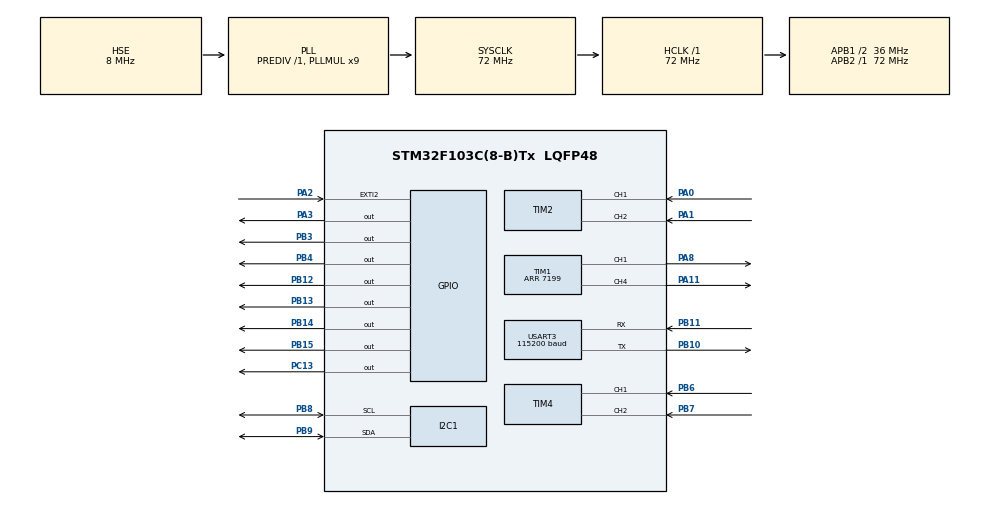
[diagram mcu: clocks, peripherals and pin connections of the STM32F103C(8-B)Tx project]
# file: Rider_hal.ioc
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Dma.Request0=USART3_RX
Dma.Request1=USART3_TX
Dma.USART3_RX.0.Direction=DMA_PERIPH_TO_MEMORY
Dma.USART3_RX.0.Instance=DMA1_Channel3
Dma.USART3_RX.0.MemDataAlignment=DMA_MDATAALIGN_BYTE
Dma.USART3_RX.0.MemInc=DMA_MINC_ENABLE
Dma.USART3_RX.0.Mode=DMA_CIRCULAR
Dma.USART3_RX.0.PeriphDataAlignment=DMA_PDATAALIGN_BYTE
Dma.USART3_RX.0.PeriphInc=DMA_PINC_DISABLE
Dma.USART3_RX.0.Priority=DMA_PRIORITY_VERY_HIGH
Dma.USART3_TX.1.Direction=DMA_MEMORY_TO_PERIPH
Dma.USART3_TX.1.Instance=DMA1_Channel2
Dma.USART3_TX.1.MemDataAlignment=DMA_MDATAALIGN_BYTE
Dma.USART3_TX.1.MemInc=DMA_MINC_ENABLE
Dma.USART3_TX.1.Mode=DMA_NORMAL
Dma.USART3_TX.1.PeriphDataAlignment=DMA_PDATAALIGN_BYTE
Dma.USART3_TX.1.PeriphInc=DMA_PINC_DISABLE
Dma.USART3_TX.1.Priority=DMA_PRIORITY_HIGH
FREERTOS.Tasks01=defaultTask,24,128,StartDefaultTask,Default,NULL,Dynamic,NULL,NULL
Mcu.Family=STM32F1
Mcu.Name=STM32F103C(8-B)Tx
Mcu.Package=LQFP48
NVIC.DMA1_Channel2_IRQn=true\:5\:0\:false\:false\:true\:true\:false\:true\:true
NVIC.DMA1_Channel3_IRQn=true\:5\:0\:false\:false\:true\:true\:false\:true\:true
NVIC.EXTI2_IRQn=true\:5\:0\:false\:false\:true\:true\:true\:true\:true
NVIC.PriorityGroup=NVIC_PRIORITYGROUP_4
NVIC.USART3_IRQn=true\:5\:0\:false\:false\:true\:true\:true\:true\:true
PA0-WKUP.Signal=S_TIM2_CH1_ETR
PA1.Signal=S_TIM2_CH2
PA11.Signal=S_TIM1_CH4
PA13.Mode=Serial_Wire
PA13.Signal=SYS_JTMS-SWDIO
PA14.Mode=Serial_Wire
PA14.Signal=SYS_JTCK-SWCLK
PA2.GPIO_ModeDefaultEXTI=GPIO_MODE_IT_RISING_FALLING
PA2.Signal=GPXTI2
PA3.GPIO_Speed=GPIO_SPEED_FREQ_HIGH
PA3.Signal=GPIO_Output
PA8.Signal=S_TIM1_CH1
PB10.Mode=Asynchronous
PB10.Signal=USART3_TX
PB11.Mode=Asynchronous
PB11.Signal=USART3_RX
PB12.Signal=GPIO_Output
PB13.Signal=GPIO_Output
PB14.Signal=GPIO_Output
PB15.Signal=GPIO_Output
PB3.GPIO_Speed=GPIO_SPEED_FREQ_HIGH
PB3.Signal=GPIO_Output
PB4.GPIO_Speed=GPIO_SPEED_FREQ_HIGH
PB4.Signal=GPIO_Output
PB6.Signal=S_TIM4_CH1
PB7.Signal=S_TIM4_CH2
PB8.Mode=I2C
PB8.Signal=I2C1_SCL
PB9.Mode=I2C
PB9.Signal=I2C1_SDA
PC13-TAMPER-RTC.Signal=GPIO_Output
PC14-OSC32_IN.Mode=LSE-External-Oscillator
PC14-OSC32_IN.Signal=RCC_OSC32_IN
PC15-OSC32_OUT.Mode=LSE-External-Oscillator
PC15-OSC32_OUT.Signal=RCC_OSC32_OUT
PD0-OSC_IN.Mode=HSE-External-Oscillator
PD0-OSC_IN.Signal=RCC_OSC_IN
PD1-OSC_OUT.Mode=HSE-External-Oscillator
PD1-OSC_OUT.Signal=RCC_OSC_OUT
ProjectManager.HeapSize=0x200
ProjectManager.StackSize=0x400
ProjectManager.TargetToolchain=MDK-ARM V5.32
RCC.AHBFreq_Value=72000000
RCC.APB1CLKDivider=RCC_HCLK_DIV2
RCC.APB1Freq_Value=36000000
RCC.APB1TimFreq_Value=72000000
RCC.APB2Freq_Value=72000000
RCC.APB2TimFreq_Value=72000000
RCC.HCLKFreq_Value=72000000
RCC.PLLMUL=RCC_PLL_MUL9
RCC.PLLSourceVirtual=RCC_PLLSOURCE_HSE
RCC.SYSCLKFreq_VALUE=72000000
RCC.SYSCLKSource=RCC_SYSCLKSOURCE_PLLCLK
RCC.USBFreq_Value=72000000
SH.S_TIM1_CH1.0=TIM1_CH1,PWM Generation1 CH1
SH.S_TIM1_CH4.0=TIM1_CH4,PWM Generation4 CH4
SH.S_TIM2_CH1_ETR.0=TIM2_CH1,Encoder_Interface
SH.S_TIM2_CH2.0=TIM2_CH2,Encoder_Interface
SH.S_TIM4_CH1.0=TIM4_CH1,Encoder_Interface
SH.S_TIM4_CH2.0=TIM4_CH2,Encoder_Interface
TIM1.AutoReloadPreload=TIM_AUTORELOAD_PRELOAD_ENABLE
TIM1.Channel-PWM\ Generation1\ CH1=TIM_CHANNEL_1
TIM1.Channel-PWM\ Generation4\ CH4=TIM_CHANNEL_4
TIM1.Period=7199
TIM1.Pulse-PWM\ Generation1\ CH1=7200
TIM1.Pulse-PWM\ Generation4\ CH4=7200
TIM2.EncoderMode=TIM_ENCODERMODE_TI12
TIM3.Prescaler=72-1
TIM4.EncoderMode=TIM_ENCODERMODE_TI12
USART3.BaudRate=115200
USART3.VirtualMode=VM_ASYNC
VP_FREERTOS_VS_CMSIS_V2.Mode=CMSIS_V2
VP_TIM3_VS_ClockSourceINT.Mode=Internal
board=custom

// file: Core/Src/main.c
/* USER CODE BEGIN Header */
/**
  ******************************************************************************
  * @file           : main.c
  * @brief          : Main program body
  ******************************************************************************
  * @attention
  *
  * Copyright (c) 2025 STMicroelectronics.
  * All rights reserved.
  *
  * This software is licensed under terms that can be found in the LICENSE file
  * in the root directory of this software component.
  * If no LICENSE file comes with this software, it is provided AS-IS.
  *
  ******************************************************************************
  */
/* USER CODE END Header */
#include "main.h"
#include "cmsis_os.h"
#include "dma.h"
#include "i2c.h"
#include "tim.h"
#include "usart.h"
#include "gpio.h"

/* USER CODE BEGIN Includes */

#include "FreeRTOS.h"
#include "task.h"
#include "oled.h"
#include "MPU6050.h"
#include "string.h"
#include "stdio.h"
#include "dwt_delay.h"
#include "Ultrasonic.h"
#include <math.h>
#include "motor.h"
#include <encoder.h>
#include "vofa.h"
#include "pid.h"
#include "BluetoothControl.h"

/* USER CODE END Includes */

/* USER CODE BEGIN PTD */

// 为了让中断也可以用，声明放在main函数外

extern volatile float accel_angle;  // 加速度计获取的角度
extern volatile float gyro_angle;   // 陀螺仪获取的角度
extern volatile float fused_angle;  // 融合后的角度
extern float gyro_x_speed;          // x轴的角速度
extern float gyro_z_speed;          // z轴的角速度

extern volatile uint8_t isFinish;  // 测量完成标志位
extern volatile uint16_t count;  // 定时器的值（高电平持续时间）

int Encoder_Left = 0;      // 左轮速度
int Encoder_Right = 0;     // 右轮速度

uint8_t System_Ready = 0; // 系统就绪标志位

extern VofaData g_vofa_frame;  // VOFA+公告板
extern float mechanical_balance_angle;  // 机械中值
extern volatile uint8_t IsParse ;           // 解析标识位
extern uint8_t Process_buffer[RX_BUFFER_SIZE + 1]; // 解析缓冲区
extern volatile uint8_t IsFall;           // 倒地标识位
extern float speed_filter_old;  // 经过滤波后的速度
extern volatile int target_speed;  // 目标速度
extern volatile int turn_cmd;  // 转向指令

extern TickType_t last_heartbeat_tick; // 上次心跳时间戳（FreeRTOS tick）

/* USER CODE END PTD */

void SystemClock_Config(void);
void MX_FREERTOS_Init(void);

int main(void)
{

  /* MCU Configuration--------------------------------------------------------*/

  /* Reset of all peripherals, Initializes the Flash interface and the Systick. */
  HAL_Init();

  /* Configure the system clock */
  SystemClock_Config();

  /* Initialize all configured peripherals */
  MX_GPIO_Init();
  MX_DMA_Init();
  MX_I2C1_Init();
  MX_USART3_UART_Init();
  MX_TIM3_Init();
  MX_TIM1_Init();
  MX_TIM2_Init();
  MX_TIM4_Init();
  /* USER CODE BEGIN 2 */

  /*====================== MPU6050初始化 ======================*/
  MPU6050_Init();
  HAL_Delay(100);   // 等待传感器稳定
  // 上电静止校准
  MPU6050_Calibrate_Gyro();
  // 让陀螺仪初始角度等于加速度计角度
  MPU6050_Get_AccelAngle();
  gyro_angle = accel_angle;
  fused_angle = accel_angle;
  // 允许滴答定时器中断开始工作
  System_Ready = 1;    // 不然在校准时，中断已经偷偷运行很久了

  /*====================== OLED初始化 ======================*/
  OLED_Init();  // 初始化oled屏幕
  OLED_Clear();  // 清屏
  // --- 打印固定不动的标签 (静态背景) ---
  // Line 0: "Angle:" (16号字体, 6个字符占 6*8=48 像素)
  OLED_ShowString(0, 0, (uint8_t*)"Angle:", 16);

  // Line 3: 分隔线
  OLED_ShowString(0, 3, (uint8_t*)"--------------", 8);

  // Line 4: "Dis:" 和 "cm"
  OLED_ShowString(0, 4, (uint8_t*)"Dis:", 12);
  OLED_ShowString(78, 4, (uint8_t*)"cm", 12);    // 24 + (9*6) = 78 (预留显示位)

  // Line 5: "L:" 和 "R:"
  OLED_ShowString(0, 6, (uint8_t*)"L:", 12);
  OLED_ShowString(64, 6, (uint8_t*)"R:", 12);    // 在屏幕中间 64 像素处开始打印 R:

  /*====================== 电机驱动模块初始化 ======================*/
  // 启动定时器1的通道1和4的PWM脉冲
  HAL_TIM_PWM_Start(&htim1, TIM_CHANNEL_1);
  HAL_TIM_PWM_Start(&htim1, TIM_CHANNEL_4);
  // 关闭电机
  Set_Motor_Speed(0, 0);

  /*====================== 编码器测速模块初始化 ======================*/
  // 启动定时器2和4的所有通道
  HAL_TIM_Encoder_Start(&htim2, TIM_CHANNEL_ALL);
  HAL_TIM_Encoder_Start(&htim4, TIM_CHANNEL_ALL);

  /*====================== VOFA+模块初始化 ======================*/
  VOFA_Init();

  /*====================== PID模块初始化 ======================*/
  PID_Init();

  /* USER CODE END 2 */

  /* Init scheduler */
  osKernelInitialize();

  /* Call init function for freertos objects (in cmsis_os2.c) */
  MX_FREERTOS_Init();

  /* Start scheduler */
  osKernelStart();

  /* We should never get here as control is now taken by the scheduler */

  /* Infinite loop */
  while (1)
  {

  }
}

void SystemClock_Config(void)
{
  RCC_OscInitTypeDef RCC_OscInitStruct = {0};
  RCC_ClkInitTypeDef RCC_ClkInitStruct = {0};

  /** Initializes the RCC Oscillators according to the specified parameters
  * in the RCC_OscInitTypeDef structure.
  */
  RCC_OscInitStruct.OscillatorType = RCC_OSCILLATORTYPE_HSE;
  RCC_OscInitStruct.HSEState = RCC_HSE_ON;
  RCC_OscInitStruct.HSEPredivValue = RCC_HSE_PREDIV_DIV1;
  RCC_OscInitStruct.HSIState = RCC_HSI_ON;
  RCC_OscInitStruct.PLL.PLLState = RCC_PLL_ON;
  RCC_OscInitStruct.PLL.PLLSource = RCC_PLLSOURCE_HSE;
  RCC_OscInitStruct.PLL.PLLMUL = RCC_PLL_MUL9;
  if (HAL_RCC_OscConfig(&RCC_OscInitStruct) != HAL_OK)
  {
    Error_Handler();
  }

  /** Initializes the CPU, AHB and APB buses clocks
  */
  RCC_ClkInitStruct.ClockType = RCC_CLOCKTYPE_HCLK|RCC_CLOCKTYPE_SYSCLK
                              |RCC_CLOCKTYPE_PCLK1|RCC_CLOCKTYPE_PCLK2;
  RCC_ClkInitStruct.SYSCLKSource = RCC_SYSCLKSOURCE_PLLCLK;
  RCC_ClkInitStruct.AHBCLKDivider = RCC_SYSCLK_DIV1;
  RCC_ClkInitStruct.APB1CLKDivider = RCC_HCLK_DIV2;
  RCC_ClkInitStruct.APB2CLKDivider = RCC_HCLK_DIV1;

  if (HAL_RCC_ClockConfig(&RCC_ClkInitStruct, FLASH_LATENCY_2) != HAL_OK)
  {
    Error_Handler();
  }
}

/* USER CODE BEGIN 4 */

/* 滴答定时器的中断回调 - FreeRTOS模式下由OS接管，此处不再使用 */
/* 控制逻辑已移至 Control_Task */

/* USER CODE END 4 */

void Error_Handler(void)
{
  __disable_irq();
  while (1)
  {
  }
}

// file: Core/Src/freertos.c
/* USER CODE BEGIN Header */
/**
  ******************************************************************************
  * File Name          : freertos.c
  * Description        : Code for freertos applications
  ******************************************************************************
  * @attention
  *
  * Copyright (c) 2026 STMicroelectronics.
  * All rights reserved.
  *
  * This software is licensed under terms that can be found in the LICENSE file
  * in the root directory of this software component.
  * If no LICENSE file comes with this software, it is provided AS-IS.
  *
  ******************************************************************************
  */
/* USER CODE END Header */

#include "FreeRTOS.h"
#include "task.h"
#include "semphr.h"
#include "main.h"
#include "cmsis_os.h"

/* USER CODE BEGIN Includes */
#include "oled.h"
#include "MPU6050.h"
#include "string.h"
#include "stdio.h"
#include "dwt_delay.h"
#include "Ultrasonic.h"
#include <math.h>
#include <stdlib.h>
#include "motor.h"
#include <encoder.h>
#include "vofa.h"
#include "pid.h"
#include "BluetoothControl.h"
#include "tim.h"
/* USER CODE END Includes */

/* USER CODE BEGIN Variables */

extern VofaData g_vofa_frame;  // VOFA+公告板
extern float mechanical_balance_angle;  // 机械中值
extern volatile uint8_t IsParse ;           // 解析标识位
extern uint8_t Process_buffer[RX_BUFFER_SIZE + 1]; // 解析缓冲区
extern volatile uint8_t IsFall;           // 倒地标识位
extern float speed_filter_old;  // 经过滤波后的速度
extern volatile int target_speed;  // 目标速度
extern volatile int turn_cmd;  // 转向指令
extern TickType_t last_heartbeat_tick; // 上次心跳时间戳（FreeRTOS tick）

extern volatile float accel_angle;  // 加速度计获取的角度
extern volatile float gyro_angle;   // 陀螺仪获取的角度
extern volatile float fused_angle;  // 融合后的角度
extern float gyro_x_speed;          // x轴的角速度
extern float gyro_z_speed;          // z轴的角速度

extern volatile uint8_t isFinish;  // 测量完成标志位
extern volatile uint16_t count;  // 定时器的值（高电平持续时间）

extern Kalman_t KalmanX;

extern int Encoder_Left;      // 左轮速度 (定义在main.c)
extern int Encoder_Right;     // 右轮速度 (定义在main.c)

extern uint8_t System_Ready; // 系统就绪标志位 (定义在main.c)

SemaphoreHandle_t g_uart_parse_semaphore;  // UART解析信号量

float g_distance = 0;  // 超声波测距距离，全局共享
float target_angle_from_speed = 0; // 速度环输出的目标角度，全局共享供Com_Task上发

/* Control Task Definition */
osThreadId_t Control_TaskHandle;
const osThreadAttr_t Control_Task_attributes = {
  .name = "Control_Task",
  .stack_size = 768 * 4,
  .priority = (osPriority_t) osPriorityHigh,
};

/* Ultrasonic Task Definition */
osThreadId_t Ultrasonic_TaskHandle;
const osThreadAttr_t Ultrasonic_Task_attributes = {
  .name = "Ultrasonic_Task",
  .stack_size = 128 * 4,
  .priority = (osPriority_t) osPriorityAboveNormal,
};

/* Com Task Definition */
osThreadId_t Com_TaskHandle;
const osThreadAttr_t Com_Task_attributes = {
  .name = "Com_Task",
  .stack_size = 256 * 4,
  .priority = (osPriority_t) osPriorityAboveNormal,
};

/* OLED Task Definition */
osThreadId_t OLED_TaskHandle;
const osThreadAttr_t OLED_Task_attributes = {
  .name = "OLED_Task",
  .stack_size = 256 * 4,
  .priority = (osPriority_t) osPriorityLow,
};

/* USER CODE END Variables */

/* USER CODE BEGIN FunctionPrototypes */

void Start_Control_Task(void *argument);
void Start_Ultrasonic_Task(void *argument);
void Start_Com_Task(void *argument);
void Start_OLED_Task(void *argument);

/* USER CODE END FunctionPrototypes */

void MX_FREERTOS_Init(void); /* (MISRA C 2004 rule 8.1) */

void MX_FREERTOS_Init(void) {

  /* USER CODE BEGIN RTOS_SEMAPHORES */
  /* UART解析信号量 */
  g_uart_parse_semaphore = xSemaphoreCreateBinary();
  /* USER CODE END RTOS_SEMAPHORES */

  /* USER CODE BEGIN RTOS_THREADS */
  /* start threads, ... */

  /* Control Task - 最高优先级 */
  Control_TaskHandle = osThreadNew(Start_Control_Task, NULL, &Control_Task_attributes);

  /* Ultrasonic Task */
  Ultrasonic_TaskHandle = osThreadNew(Start_Ultrasonic_Task, NULL, &Ultrasonic_Task_attributes);

  /* Com Task */
  Com_TaskHandle = osThreadNew(Start_Com_Task, NULL, &Com_Task_attributes);

  /* OLED Task */
  OLED_TaskHandle = osThreadNew(Start_OLED_Task, NULL, &OLED_Task_attributes);

  /* USER CODE END RTOS_THREADS */

}

void Start_Control_Task(void *argument)
{
  /* USER CODE BEGIN Start_Control_Task */

  /* 等待系统就绪（传感器校准完成） */
  while (!System_Ready)
  {
    osDelay(pdMS_TO_TICKS(10));
  }

  TickType_t xLastWakeTime = xTaskGetTickCount();
  static uint8_t speed_loop_counter = 0;
  // target_angle_from_speed 已改为全局变量，在文件顶部定义

  /* Infinite loop */
  for(;;)
  {
    /* ===== 40ms 任务：速度环 ===== */
    if (speed_loop_counter >= 8)
    {
      /* 编码器测速 */
      Encoder_Left = Read_Speed(&htim2);
      Encoder_Right = -1 * Read_Speed(&htim4);

      /* 速度环 PI */
      target_angle_from_speed = Speed_Control(Encoder_Left, Encoder_Right, fused_angle);

      speed_loop_counter = 0;
    }

    /* ===== 5ms 任务：直立环 + 转向环 ===== */
    /* 姿态解算 */
    MPU6050_get_FusedAngle_Optimized(0.005f);

    /* 倒地检测 */
    if (fabs(fused_angle) > 40.0f)
      IsFall = 1;
    else if (fabs(fused_angle) < 5.0f)
      IsFall = 0;

    /* 直立环 PD */
    float pure_gyro_x_speed = gyro_x_speed - KalmanX.bias;
    int Upright_pwm = Upright_Control(fused_angle, pure_gyro_x_speed, target_angle_from_speed);

    /* 转向环 P */
    int Turn_pwm = Turn_Control(turn_cmd, gyro_z_speed);

    /* 电机输出 */
    if (IsFall == 1)
    {
      Set_Motor_Speed(0, 0);
      target_angle_from_speed = 0;
    }
    else
    {
      Set_Motor_Speed(Upright_pwm + Turn_pwm, Upright_pwm - Turn_pwm);
    }

    speed_loop_counter++;

    vTaskDelayUntil(&xLastWakeTime, pdMS_TO_TICKS(5));
  }
  /* USER CODE END Start_Control_Task */
}

void Start_Ultrasonic_Task(void *argument)
{
  /* USER CODE BEGIN Start_Ultrasonic_Task */
  TickType_t xLastWakeTime = xTaskGetTickCount();
  uint8_t isObstacle = 0;
  (void)isObstacle; // 预留避障逻辑

  /* Infinite loop */
  for(;;)
  {
    if (isFinish == 0)
    {
      Get_Distance();
    }

    if (isFinish == 1)
    {
      g_distance = count * 0.017;
      if (g_distance > 0 && g_distance <= 30)
        isObstacle = 1;
      else
        isObstacle = 0;
      isFinish = 0;
    }

    vTaskDelayUntil(&xLastWakeTime, pdMS_TO_TICKS(60));
  }
  /* USER CODE END Start_Ultrasonic_Task */
}

void Start_Com_Task(void *argument)
{
  /* USER CODE BEGIN Start_Com_Task */
  TickType_t xLastWakeTime = xTaskGetTickCount();

  /* 本地副本，用于VOFA发送 */
  float reality_angle = 0;
  float expect_angle = 0;
  float pwm_output = 0;
  uint8_t local_IsParse = 0;
  uint8_t local_Process_buffer[RX_BUFFER_SIZE + 1];

  /* Infinite loop */
  for(;;)
  {
    /* 等待UART解析信号量（由DMA中断给出） */
    if (xSemaphoreTake(g_uart_parse_semaphore, pdMS_TO_TICKS(50)) == pdTRUE)
    {
      /* 原子复制数据，避免竞态条件 */
      local_IsParse = IsParse;
      memcpy(local_Process_buffer, Process_buffer, RX_BUFFER_SIZE);
    }

    /* 蓝牙解析（使用本地副本） */
    if (local_IsParse == 1)
    {
      local_IsParse = 0;
      /* 根据数据内容判断来源并解析 */
      Bluetooth_Parse_Binary(local_Process_buffer);
    }

    /* 软件看门狗 - 检查控制指令超时 */
    if (xTaskGetTickCount() - last_heartbeat_tick > pdMS_TO_TICKS(CONTROL_TIMEOUT))
    {
      /* 超时，认为通信丢失 */
      target_speed = 0;  // 目标速度清零
      turn_cmd = 0;       // 转向指令清零
    }

    /* VOFA 数据上发 */
    reality_angle = fused_angle;
    expect_angle = mechanical_balance_angle + target_angle_from_speed;
    /* 从全局变量获取PWM值 */
    pwm_output = (abs(g_moto1_pwm) + abs(g_moto2_pwm)) / 2.0f;

    g_vofa_frame.Reality_angle = reality_angle;
    g_vofa_frame.expect_angle = expect_angle;
    g_vofa_frame.PWM_output_value = pwm_output;
    VOFA_SendDta();

    vTaskDelayUntil(&xLastWakeTime, pdMS_TO_TICKS(20));
  }
  /* USER CODE END Start_Com_Task */
}

void Start_OLED_Task(void *argument)
{
  /* USER CODE BEGIN Start_OLED_Task */
  TickType_t xLastWakeTime = xTaskGetTickCount();
  uint8_t oled_stage = 0;

  /* Infinite loop */
  for(;;)
  {
    switch (oled_stage)
    {
      case 0:
        /* 角度数据可视化 */
        OLED_ShowSignedFloat(48, 0, fused_angle, 3, 2, 16);
        break;
      case 1:
        /* 速度数据可视化 */
        OLED_ShowSignedNum(12, 6, Encoder_Left, 4, 12);
        OLED_ShowSignedNum(76, 6, Encoder_Right, 4, 12);
        break;
      case 2:
        /* 障碍数据可视化 */
        OLED_ShowSignedFloat(24, 4, g_distance, 3, 1, 12);
        break;
    }
    oled_stage = (oled_stage + 1) % 3;

    vTaskDelayUntil(&xLastWakeTime, pdMS_TO_TICKS(125));
  }
  /* USER CODE END Start_OLED_Task */
}
